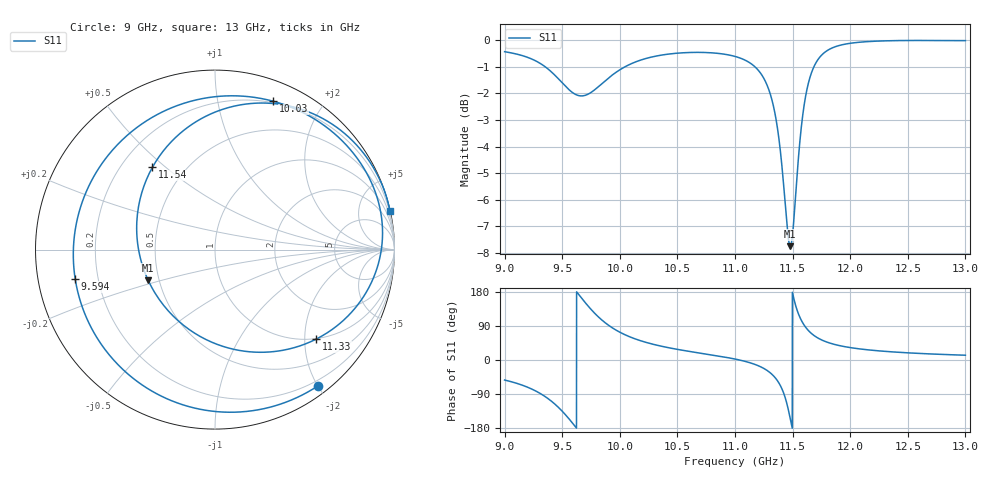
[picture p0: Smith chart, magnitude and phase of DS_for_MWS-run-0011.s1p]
! TOUCHSTONE file generated by CST DESIGN STUDIO
! Date and time: Tue Feb  4 13:04:52 2025
! Project name: C:\Work\MatlabApps\UnitCellOptimizationMatlab\CST\unitcell.cst
! Tree item: Tasks\Sweep1\SPara1\S-Parameters
! Header version: 2024
! Port assignment regex: !\s*Touchstone port\s*([0-9]+)\s*=\s*(CST MWS port|CST DES external port|CST DES block port)\s*(.+)\s* \(\"(.*)\"\)(\s*mode\s*([0-9]+))?.*
! Touchstone port assignment:
! Touchstone port 1 = CST DES external port 1 ("")
# GHz S MA R 50
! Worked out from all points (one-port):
!   4001 points, 9 GHz to 13 GHz, reference 50 ohm
!   lowest |S11| = -7.8 dB at 11.48 GHz (marker M1), VSWR 2.39, Z = 21.8 - j8.96 ohm
!   |S11| at or under -10 dB: nowhere
!   S11 on the Smith chart (normalised r, x): 9 GHz: 0.12, -2.01; 9.594 GHz: 0.11, -0.10; 10.03 GHz: 0.19, +1.45; 11.33 GHz: 0.99, -2.28; 11.54 GHz: 0.33, +0.45; 13 GHz: 0.07, +9.06
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9  0.9517 -52.9
9.172  0.933 -68.5
9.324  0.9002 -91.0
9.417  0.8675 -111.3
9.5  0.8314 -135.1
9.594  0.7958 -168.2
9.682  0.786 158.1
9.791  0.8098 120.5
9.884  0.8427 95.8
10  0.8797 73.4
10.031  0.8879 68.6
10.232  0.9247 46.1
10.5  0.9455 28.0
11  0.9323 2.5
11.21  0.8738 -16.2
11.333  0.7529 -41.4
11.417  0.55 -83.1
11.448  0.457 -112.4
11.48  0.4096 -155.3
11.5  0.4317 175.9
11.544  0.576 127.2
11.578  0.6934 103.4
11.615  0.7889 85.7
11.728  0.9246 56.6
11.84  0.9665 43.1
12  0.9869 32.7
12.5  0.999 18.9
13  0.9983 12.6
